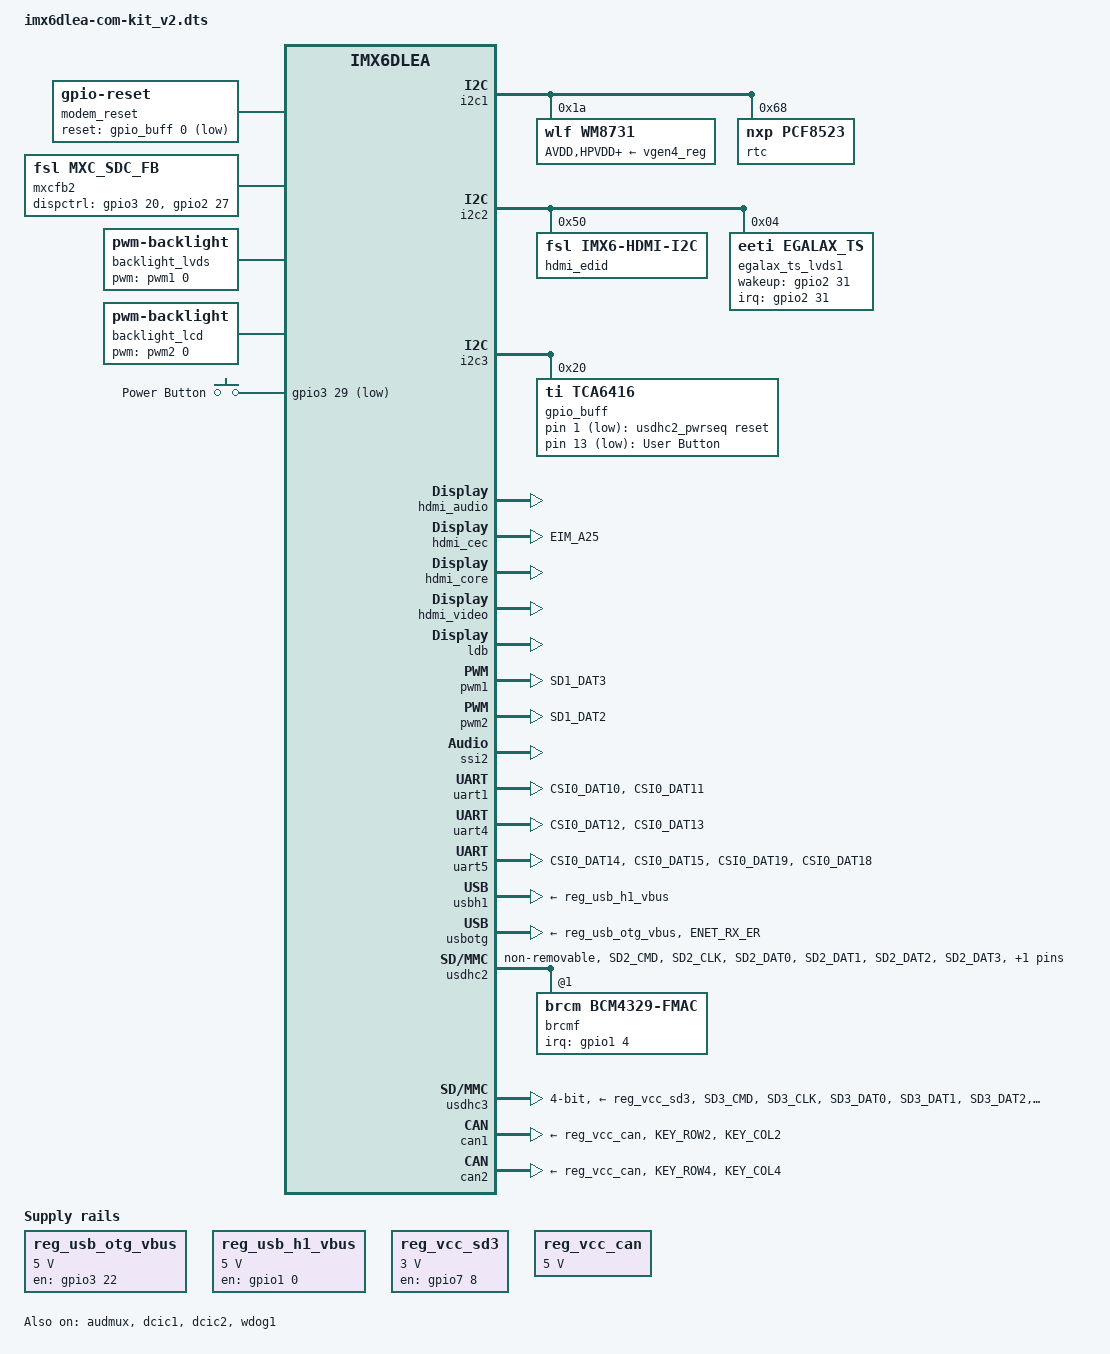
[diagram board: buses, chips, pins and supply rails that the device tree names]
/*
 * Copyright 2012 Freescale Semiconductor, Inc.
 * Copyright 2011 Linaro Ltd.
 *
 * The code contained herein is licensed under the GNU General Public
 * License. You may obtain a copy of the GNU General Public License
 * Version 2 or later at the following locations:
 *
 * http://www.opensource.org/licenses/gpl-license.html
 * http://www.gnu.org/copyleft/gpl.html
 */

/dts-v1/;

#include <dt-bindings/sound/fsl-imx-audmux.h> 
#include "imx6dlea-com.dtsi"


/ {
	aliases {
		mxcfb0 = &mxcfb1;
		mxcfb1 = &mxcfb2;
		mxcfb2 = &mxcfb3;
		mxcfb3 = &mxcfb4;

		/* Aliases to allow u-boot to modify the device tree */
		fb_hdmi = &mxcfb1;
		fb_rgb = &mxcfb3;
		fb_lvds0 = &mxcfb2;
		fb_lvds1 = &mxcfb4;
		t_rgb = &t_lcd;
		t_lvds0 = &t_lvds;
		t_lvds1 = &t_lvds2;
		bl_rgb = &backlight_lcd;
		bl_lvds = &backlight_lvds;
		rgb = &lcd;
		ldb = &ldb;
		ts_con_rgb = &i2c1;
		ts_con_lvds0 = &i2c1;
		ts_con_lvds1 = &i2c2;
	};

	modem_reset: modem-reset {		/* Murata -- BT_REG_ON */
		compatible = "gpio-reset";
		reset-gpios = <&gpio_buff 0 GPIO_ACTIVE_LOW>;
		reset-delay-us = <1000>;
		initially-in-reset;
		#reset-cells = <0>;
	};

	regulators {
		compatible = "simple-bus";
		#address-cells = <1>;
		#size-cells = <0>;

		reg_usb_otg_vbus: regulator@0 {
			compatible = "regulator-fixed";
			reg = <0>;
			regulator-name = "usb_otg_vbus";
			regulator-min-microvolt = <5000000>;
			regulator-max-microvolt = <5000000>;
			gpio = <&gpio3 22 GPIO_ACTIVE_HIGH>;
			enable-active-high;
		};

		reg_usb_h1_vbus: regulator@1 {
			compatible = "regulator-fixed";
			reg = <1>;
			pinctrl-names = "default";
			pinctrl-0 = <&pinctrl_usb_h1>;
			regulator-name = "usb_h1_vbus";
			regulator-min-microvolt = <5000000>;
			regulator-max-microvolt = <5000000>;
			gpio = <&gpio1 0 GPIO_ACTIVE_HIGH>;
			enable-active-high;
		};

		/* For uSD/MMC socket on EA COM Base Board */
		reg_vcc_sd3: regulator@2 {
			compatible = "regulator-fixed";
			reg = <2>;
			pinctrl-names = "default";
			pinctrl-0 = <&pinctrl_vcc_sd3>;
			regulator-name = "VCC_SD3";
			regulator-min-microvolt = <3000000>;
			regulator-max-microvolt = <3000000>;
			gpio = <&gpio7 8 GPIO_ACTIVE_LOW>;
			enable-active-high;
		};

		reg_vcc_can: regulator@4 {
			compatible = "regulator-fixed";
			reg = <4>;
			regulator-name = "VCC_CAN";
			regulator-min-microvolt = <5000000>;
			regulator-max-microvolt = <5000000>;
			regulator-always-on;
			/*regulator-boot-on;*/
		};

		usdhc2_pwrseq: usdhc2_pwrseq {			/* add construct for "fmac" to control WL_REG_ON signal */
			compatible = "mmc-pwrseq-simple";
			reset-gpios = <&gpio_buff 1 GPIO_ACTIVE_LOW>; /* WL REG ON */
			post-power-on-delay-ms = <120>;
			status = "okay";
		};
	};

	sound-wm8731 {
		compatible = "simple-audio-card";
		simple-audio-card,name = "wm8731-audio";
		simple-audio-card,format = "i2s";
		simple-audio-card,frame-master = <&cpudai>;
		simple-audio-card,bitclock-master = <&cpudai>;
		simple-audio-card,widgets =
			"Line", "Left Line Out Jack",
			"Line", "Right Line Out Jack";
		simple-audio-card,routing =
			"Left Line Out Jack", "LOUT",
			"Right Line Out Jack", "ROUT";

		cpudai: simple-audio-card,cpu {
			sound-dai = <&ssi2>;
		};

		simple-audio-card,codec {
			sound-dai = <&wm8731>;
			clocks = <&clks IMX6QDL_CLK_SSI2>;
		};
	};

	sound-hdmi {
		compatible = "fsl,imx6q-audio-hdmi",
			     "fsl,imx-audio-hdmi";
		model = "imx-audio-hdmi";
		hdmi-controller = <&hdmi_audio>;
	};

	mxcfb1: fb@0 {
		compatible = "fsl,mxc_sdc_fb";
		disp_dev = "hdmi";
		interface_pix_fmt = "RGB24";
		mode_str ="1920x1080M@60";
		default_bpp = <24>;
		int_clk = <0>;
		late_init = <0>;
		status = "disabled";
	};

	mxcfb2: fb@1 {
		compatible = "fsl,mxc_sdc_fb";
		disp_dev = "ldb";
		interface_pix_fmt = "RGB666";
		default_bpp = <16>;
		int_clk = <0>;
		late_init = <0>;
		dispctrl-gpios = <&gpio3 20 GPIO_ACTIVE_HIGH>, <&gpio2 27 GPIO_ACTIVE_HIGH>;
		status = "disabled";
	};

	mxcfb3: fb@2 {
		compatible = "fsl,mxc_sdc_fb";
		disp_dev = "lcd";
		interface_pix_fmt = "RGB24";
		mode_str ="eadisp_special";
		default_bpp = <32>;
		int_clk = <0>;
		late_init = <0>;
		dispctrl-gpios = <&gpio6 31 GPIO_ACTIVE_HIGH>, <&gpio5 0 GPIO_ACTIVE_HIGH>;
		status = "disabled";
	};

	mxcfb4: fb@3 {
		compatible = "fsl,mxc_sdc_fb";
		disp_dev = "ldb";
		interface_pix_fmt = "RGB666";
		default_bpp = <16>;
		int_clk = <0>;
		late_init = <0>;
		dispctrl-gpios = <&gpio6 31 GPIO_ACTIVE_HIGH>, <&gpio5 0 GPIO_ACTIVE_HIGH>;
		status = "disabled";
	};

	lcd: lcd@0 {
		compatible = "fsl,lcd";
		ipu_id = <0>;
		disp_id = <0>;
		default_ifmt = "RGB24";
		pinctrl-names = "default";
		pinctrl-0 = <&pinctrl_ipu1>;
		status = "okay";
	};

	/* Backlight for LVDS 0 and 1 */
	backlight_lvds: backlight1 {
		compatible = "pwm-backlight";
		pwms = <&pwm1 0 5000000>;
		brightness-levels = <0 4 8 16 32 64 128 255>;
		default-brightness-level = <7>;
		status = "okay";
	};

	/* Backlight for RGB */
	backlight_lcd: backlight2 {
		compatible = "pwm-backlight";
		pwms = <&pwm2 0 5000000>;
		brightness-levels = <0 4 8 16 32 64 128 255>;
		default-brightness-level = <7>;
		status = "okay";
	};

	v4l2_out {
		compatible = "fsl,mxc_v4l2_output";
		status = "okay";
	};

        gpio-keys {
                compatible = "gpio-keys";
                pinctrl-names = "default";
                pinctrl-0 = <&pinctrl_gpio_keys>;

                power {
                        label = "Power Button";
                        gpios = <&gpio3 29 GPIO_ACTIVE_LOW>;
                        gpio-key,wakeup;
                        linux,code = <KEY_POWER>;
                };
		user_btn {
			label = "User Button";
			gpios = <&gpio_buff 13 GPIO_ACTIVE_LOW>;
			linux,code = <103>; /* 103 = numpad 7 */
		};
        };
};

&audmux {
	pinctrl-names = "default";
	pinctrl-0 = <&pinctrl_audmux>;
	status = "okay";


        ssi2 {
                fsl,audmux-port = <1>;
                fsl,port-config = <
                        (IMX_AUDMUX_V2_PTCR_RCLKDIR |
                        IMX_AUDMUX_V2_PTCR_RCSEL(2 | 0x8) |
                        IMX_AUDMUX_V2_PTCR_TCLKDIR |
                        IMX_AUDMUX_V2_PTCR_TCSEL(2))
                        IMX_AUDMUX_V2_PDCR_RXDSEL(2)
                >;
        };

        audmux3 {
                fsl,audmux-port = <2>;
                fsl,port-config = <
                        (IMX_AUDMUX_V2_PTCR_TFSDIR |
                        IMX_AUDMUX_V2_PTCR_TFSEL(1) |
                        IMX_AUDMUX_V2_PTCR_RCLKDIR |
                        IMX_AUDMUX_V2_PTCR_RCSEL(1 | 0x8) |
                        IMX_AUDMUX_V2_PTCR_TCLKDIR |
                        IMX_AUDMUX_V2_PTCR_TCSEL(1))
                        IMX_AUDMUX_V2_PDCR_RXDSEL(1)
                >;
        };

};


&i2c1 {
	
	wm8731: wm8731@1a {
		#sound-dai-cells = <0>;
		compatible = "wlf,wm8731";
		reg = <0x1a>;
		clocks = <&clks IMX6QDL_CLK_CKO>;
		clock-names = "mclk"; 

		assigned-clocks = <&clks IMX6QDL_CLK_CKO>, <&clks IMX6QDL_CLK_CKO1_SEL>;
		assigned-clock-parents = <&clks IMX6QDL_CLK_CKO1>, <&clks IMX6QDL_CLK_PLL4_AUDIO_DIV>;

		AVDD-supply = <&vgen4_reg>;
		HPVDD-supply = <&vgen4_reg>;
		DCVDD-supply = <&vgen4_reg>;
		DBVDD-supply = <&vgen4_reg>;
	};

	/* AR1021 touch controller through RGB display interface connector on Carrier Board */
	ar1021_rgb@4d {
		compatible = "microchip,ar1021-i2c";
		reg = <0x4d>;
		pinctrl-names = "default";
		pinctrl-0 = <&pinctrl_rgb_connector>;
		interrupt-parent = <&gpio2>;
		interrupts = <18 IRQ_TYPE_EDGE_FALLING>;
		ar1021,swap_xy;
		ar1021,invert_x;
		#ar1021,invert_y;
		status = "disabled";
	};
	/* AR1021 touch controller through LVDS0 display interface connector on Carrier Board */
	ar1021_lvds0@4d {
		compatible = "microchip,ar1021-i2c";
		reg = <0x4d>;
		pinctrl-names = "default";
		pinctrl-0 = <&pinctrl_lvds0_connector>;
		interrupt-parent = <&gpio3>;
		interrupts = <13 IRQ_TYPE_EDGE_FALLING>;
		ar1021,swap_xy;
		ar1021,invert_x;
		#ar1021,invert_y;
		status = "disabled";
	};
	/* eGalax touch controller through RGB display interface connector on Carrier Board */
	egalax_ts_rgb@4 {
		compatible = "eeti,egalax_ts";
		reg = <0x4>;
		pinctrl-names = "default";
		pinctrl-0 = <&pinctrl_rgb_connector>;
		interrupt-parent = <&gpio2>;
		interrupts = <18 IRQ_TYPE_EDGE_FALLING>;
		wakeup-gpios = <&gpio2 18 GPIO_ACTIVE_HIGH>;
		status = "disabled";
	};
	/* eGalax touch controller through LVDS0 display interface connector on Carrier Board */
	egalax_ts_lvds0@4 {
		compatible = "eeti,egalax_ts";
		reg = <0x4>;
		pinctrl-names = "default";
		pinctrl-0 = <&pinctrl_lvds0_connector>;
		interrupt-parent = <&gpio3>;
		interrupts = <13 IRQ_TYPE_EDGE_FALLING>;
		wakeup-gpios = <&gpio3 13 GPIO_ACTIVE_HIGH>;
		status = "disabled";
	};

	/* FocalTech touch controller through RGB display interface connector on Carrier Board */
	edt-ft5x06_rgb@38 {
		compatible = "edt,edt-ft5x06";
		reg = <0x38>;
		pinctrl-names = "default";
		pinctrl-0 = <&pinctrl_rgb_connector>;
		interrupt-parent = <&gpio2>;
		interrupts = <18 IRQ_TYPE_EDGE_FALLING>;
		reset-gpios = <&gpio3 14 GPIO_ACTIVE_HIGH>;
		status = "disabled";
	};
	/* FocalTech touch controller through LVDS0 display interface connector on Carrier Board */
	edt-ft5x06_lvds0@38 {
		compatible = "edt,edt-ft5x06";
		reg = <0x38>;
		pinctrl-names = "default";
		pinctrl-0 = <&pinctrl_lvds0_connector>;
		interrupt-parent = <&gpio3>;
		interrupts = <13 IRQ_TYPE_EDGE_FALLING>;
		status = "disabled";
	};

	/* Ilitek touch controller through RGB display interface connector on Carrier Board */
	ilitek_aim_rgb@41 {
		compatible = "ilitek,ilitek_aim";
		reg = <0x41>;
		pinctrl-names = "default";
		pinctrl-0 = <&pinctrl_rgb_connector>;
		interrupt-parent = <&gpio2>;
		interrupts = <18 IRQ_TYPE_EDGE_FALLING>;
		reset-gpios = <&gpio3 14 GPIO_ACTIVE_HIGH>;
		status = "disabled";
	};
	/* Ilitek touch controller through LVDS0 display interface connector on Carrier Board */
	ilitek_aim_lvds0@41 {
		compatible = "ilitek,ilitek_aim";
		reg = <0x41>;
		pinctrl-names = "default";
		pinctrl-0 = <&pinctrl_lvds0_connector>;
		interrupt-parent = <&gpio3>;
		interrupts = <13 IRQ_TYPE_EDGE_FALLING>;
		status = "disabled";
	};

        /* Atmel MXT1664 touch controller through RGB display interface connector on Carrier Board */
        mxt1664_ts_rgb@4b {
                compatible = "atmel,mxt1664_ts";
                reg = <0x4b>;
                pinctrl-names = "default";
                pinctrl-0 = <&pinctrl_rgb_connector>;
                interrupt-parent = <&gpio2>;
                interrupts = <18 IRQ_TYPE_EDGE_FALLING>;
                status = "disabled";
        };
        /* Atmel MXT1664 touch controller through LVDS0 display interface connector on Carrier Board */
        mxt1664_ts_lvds0@4b {
                compatible = "atmel,mxt1664_ts";
                reg = <0x4b>;
                pinctrl-names = "default";
                pinctrl-0 = <&pinctrl_lvds0_connector>;
                interrupt-parent = <&gpio3>;
                interrupts = <13 IRQ_TYPE_EDGE_FALLING>;
                status = "disabled";
        };

	/* Sitronix touch controller through RGB display interface connector on Carrier Board */
	sitronix_rgb@55 {
		compatible = "sitronix,sitronix_i2c";
		reg = <0x55>;
		pinctrl-names = "default";
		pinctrl-0 = <&pinctrl_rgb_connector>;
		interrupt-parent = <&gpio2>;
		interrupts = <18 IRQ_TYPE_EDGE_FALLING>;
		reset-gpios = <&gpio3 14 GPIO_ACTIVE_HIGH>;
		status = "disabled";
	};
	/* Sitronix touch controller through LVDS0 display interface connector on Carrier Board */
	sitronix_lvds0@55 {
		compatible = "sitronix,sitronix_i2c";
		reg = <0x55>;
		pinctrl-names = "default";
		pinctrl-0 = <&pinctrl_lvds0_connector>;
		interrupt-parent = <&gpio3>;
		interrupts = <13 IRQ_TYPE_EDGE_FALLING>;
		status = "disabled";
	};
	rtc: pcf8523@68 {
		compatible = "nxp,pcf8523";
		reg = <0x68>;
	};
};

&i2c2 {
        /*
         * On COM Carrier board Rev E1 HDMI DDC I2C channel has moved to I2C-C
         * (which equals i2c2). On older revisions hdmi_edid should be under
         * the i2c3 node.
         */
	hdmi_edid: edid@50 {
		compatible = "fsl,imx6-hdmi-i2c";
		reg = <0x50>;
	};

	/* AR1021 touch controller through LVDS1 display interface connector on Carrier Board */
	ar1021_lvds1@4d {
		compatible = "microchip,ar1021-i2c";
		reg = <0x4d>;
		pinctrl-names = "default";
		pinctrl-0 = <&pinctrl_lvds1_connector>;
		interrupt-parent = <&gpio2>;
		interrupts = <31 IRQ_TYPE_EDGE_FALLING>;
		ar1021,swap_xy;
		ar1021,invert_x;
		#ar1021,invert_y;
		status = "disabled";
	};

	/* eGalax touch controller through LVDS1 display interface connector on Carrier Board */
	egalax_ts_lvds1@4 {
		compatible = "eeti,egalax_ts";
		reg = <0x4>;
		pinctrl-names = "default";
		pinctrl-0 = <&pinctrl_lvds1_connector>;
		interrupt-parent = <&gpio2>;
		interrupts = <31 IRQ_TYPE_EDGE_FALLING>;
		wakeup-gpios = <&gpio2 31 GPIO_ACTIVE_HIGH>;
		status = "okay";
	};

	/* FocalTech touch controller through LVDS1 display interface connector on Carrier Board */
	edt-ft5x06_lvds1@38 {
		compatible = "edt,edt-ft5x06";
		reg = <0x38>;
		pinctrl-names = "default";
		pinctrl-0 = <&pinctrl_lvds1_connector>;
		interrupt-parent = <&gpio2>;
		interrupts = <31 IRQ_TYPE_EDGE_FALLING>;
		status = "disabled";
	};

	/* Ilitek touch controller through LVDS1 display interface connector on Carrier Board */
	ilitek_aim_lvds1@41 {
		compatible = "ilitek,ilitek_aim";
		reg = <0x41>;
		pinctrl-names = "default";
		pinctrl-0 = <&pinctrl_lvds1_connector>;
		interrupt-parent = <&gpio2>;
		interrupts = <31 IRQ_TYPE_EDGE_FALLING>;
		status = "disabled";
	};

        /* Atmel MXT1664 touch controller through LVDS1 display interface connector on Carrier Board */
        mxt1664_ts_lvds1@4b {
                compatible = "atmel,mxt1664_ts";
                reg = <0x4b>;
                pinctrl-names = "default";
                pinctrl-0 = <&pinctrl_lvds1_connector>;
                interrupt-parent = <&gpio2>;
                interrupts = <31 IRQ_TYPE_EDGE_FALLING>;
                status = "disabled";
        };

	/* Sitronix touch controller through LVDS1 display interface connector on Carrier Board */
	sitronix_lvds1@55 {
		compatible = "sitronix,sitronix_i2c";
		reg = <0x55>;
		pinctrl-names = "default";
		pinctrl-0 = <&pinctrl_lvds1_connector>;
		interrupt-parent = <&gpio2>;
		interrupts = <31 IRQ_TYPE_EDGE_FALLING>;
		status = "disabled";
	};
};

&i2c3 {
        /*
         * On COM Carrier board Rev E1 HDMI DDC I2C channel has moved to I2C-C
         * (which equals i2c2). On older revisions hdmi_edid should be under
         * this node (i2c3).
         *
	hdmi_edid: edid@50 {
		compatible = "fsl,imx6-hdmi-i2c";
		reg = <0x50>;
	};*/

	gpio_buff: pca6416@20 {
		compatible = "ti,tca6416";
		reg = <0x20>;
		gpio-controller;
		#gpio-cells = <2>;
		gpio-line-names = "BT_REG_ON", "WL_REG_ON", "VBAT_VSEL",
			"BT_DEV_WAKE", "", "AUD_CODEC_MUX_CTRL1",
			"VDDIO_VSEL", "PCIE_PERST_L", "",
			"DIR_WL_DEV_WAKE", "PCIE_CLK_MUX_CTRL", "AUD_CODEC_MUX_CTRL2",
			"DIR_BT_AUD_WS_CLK", "USER_BTN", "USER_LED1", "USER_LED2";

		hog_VBAT_VSEL {
			gpio-hog;
			gpios = <2 0>;
			output-low; /* LOW = 3.3V, HIGH = 3.6V */
		};
		hog_AUD_CODEC_MUX_CTRL1 {
			gpio-hog;
			gpios = <5 0>;
			output-low;
		};
		hog_VDDIO_VSEL {
			gpio-hog;
			gpios = <6 0>;
			output-high; /* LOW = 1.8V, HIGH = 3.3V */
		};
		hog_DIR_WL_DEV_WAKE {
			gpio-hog;
			gpios = <9 0>;
			output-low;
		};
		hog_PCIE_CLK_MUX_CTRL {
			gpio-hog;
			gpios = <10 0>;
			output-high; /* LOW = External Reference Clock, HIGH = i.MX Generated Clock */
		};
		hog_AUD_CODEC_MUX_CTRL2 {
			gpio-hog;
			gpios = <11 0>;
			output-low;
		};
	};
};


&iomuxc {
	pinctrl-0 = <&pinctrl_hog>, <&pinctrl_lcd_gpios>, <&pinctrl_exp_conn>;

	imx6qea-com-kit {

		pinctrl_audmux: audmuxgrp {
			fsl,pins = <
				MX6QDL_PAD_CSI0_DAT7__AUD3_RXD		0x130b0
				MX6QDL_PAD_CSI0_DAT4__AUD3_TXC		0x130b0
				MX6QDL_PAD_CSI0_DAT5__AUD3_TXD		0x110b0
				MX6QDL_PAD_CSI0_DAT6__AUD3_TXFS		0x130b0
				MX6QDL_PAD_GPIO_19__CCM_CLKO1		0x130b0
			>;
		};
		
		pinctrl_rgb_connector: rgb_connector_grp {
			fsl,pins = <
				MX6QDL_PAD_EIM_A20__GPIO2_IO18          0x1f0b0
				MX6QDL_PAD_EIM_DA14__GPIO3_IO14		0x1f0b0
			>;
		};

		pinctrl_lvds0_connector: lvds0_connector_grp {
			fsl,pins = <
				MX6QDL_PAD_EIM_DA13__GPIO3_IO13		0x1f0b0
			>;
		};

		pinctrl_lvds1_connector: lvds1_connector_grp {
			fsl,pins = <
				MX6QDL_PAD_EIM_EB3__GPIO2_IO31		0x1f0b0
			>;
		};

		pinctrl_hdmi_cec: hdmicecgrp {
			fsl,pins = <
				MX6QDL_PAD_EIM_A25__HDMI_TX_CEC_LINE 0x1f8b0
			>;
		};

		pinctrl_hdmi_hdcp: hdmihdcpgrp {
			fsl,pins = <
				MX6QDL_PAD_KEY_COL3__HDMI_TX_DDC_SCL 0x4001b8b1
				MX6QDL_PAD_KEY_ROW3__HDMI_TX_DDC_SDA 0x4001b8b1
			>;
		};


		pinctrl_ipu1: ipu1grp {
			fsl,pins = <
				MX6QDL_PAD_DI0_DISP_CLK__IPU1_DI0_DISP_CLK 0x10
				MX6QDL_PAD_DI0_PIN15__IPU1_DI0_PIN15       0x10
				MX6QDL_PAD_DI0_PIN2__IPU1_DI0_PIN02        0x10
				MX6QDL_PAD_DI0_PIN3__IPU1_DI0_PIN03        0x10
				MX6QDL_PAD_DI0_PIN4__IPU1_DI0_PIN04        0x80000000
				MX6QDL_PAD_DISP0_DAT0__IPU1_DISP0_DATA00   0x10
				MX6QDL_PAD_DISP0_DAT1__IPU1_DISP0_DATA01   0x10
				MX6QDL_PAD_DISP0_DAT2__IPU1_DISP0_DATA02   0x10
				MX6QDL_PAD_DISP0_DAT3__IPU1_DISP0_DATA03   0x10
				MX6QDL_PAD_DISP0_DAT4__IPU1_DISP0_DATA04   0x10
				MX6QDL_PAD_DISP0_DAT5__IPU1_DISP0_DATA05   0x10
				MX6QDL_PAD_DISP0_DAT6__IPU1_DISP0_DATA06   0x10
				MX6QDL_PAD_DISP0_DAT7__IPU1_DISP0_DATA07   0x10
				MX6QDL_PAD_DISP0_DAT8__IPU1_DISP0_DATA08   0x10
				MX6QDL_PAD_DISP0_DAT9__IPU1_DISP0_DATA09   0x10
				MX6QDL_PAD_DISP0_DAT10__IPU1_DISP0_DATA10  0x10
				MX6QDL_PAD_DISP0_DAT11__IPU1_DISP0_DATA11  0x10
				MX6QDL_PAD_DISP0_DAT12__IPU1_DISP0_DATA12  0x10
				MX6QDL_PAD_DISP0_DAT13__IPU1_DISP0_DATA13  0x10
				MX6QDL_PAD_DISP0_DAT14__IPU1_DISP0_DATA14  0x10
				MX6QDL_PAD_DISP0_DAT15__IPU1_DISP0_DATA15  0x10
				MX6QDL_PAD_DISP0_DAT16__IPU1_DISP0_DATA16  0x10
				MX6QDL_PAD_DISP0_DAT17__IPU1_DISP0_DATA17  0x10
				MX6QDL_PAD_DISP0_DAT18__IPU1_DISP0_DATA18  0x10
				MX6QDL_PAD_DISP0_DAT19__IPU1_DISP0_DATA19  0x10
				MX6QDL_PAD_DISP0_DAT20__IPU1_DISP0_DATA20  0x10
				MX6QDL_PAD_DISP0_DAT21__IPU1_DISP0_DATA21  0x10
				MX6QDL_PAD_DISP0_DAT22__IPU1_DISP0_DATA22  0x10
				MX6QDL_PAD_DISP0_DAT23__IPU1_DISP0_DATA23  0x10
			>;
		};


		pinctrl_pwm1: pwm1grp {
			fsl,pins = <
				MX6QDL_PAD_SD1_DAT3__PWM1_OUT		0x1b0b1
			>;
		};

		pinctrl_pwm2: pwm2grp {
			fsl,pins = <
				MX6QDL_PAD_SD1_DAT2__PWM2_OUT		0x1b0b1
			>;
		};

		pinctrl_uart1: uart1grp {
			fsl,pins = <
				MX6QDL_PAD_CSI0_DAT10__UART1_TX_DATA	0x1b0b1
				MX6QDL_PAD_CSI0_DAT11__UART1_RX_DATA	0x1b0b1
			>;
		};

		pinctrl_uart4: uart4grp {
			fsl,pins = <
				MX6QDL_PAD_CSI0_DAT12__UART4_TX_DATA	0x1b0b1
				MX6QDL_PAD_CSI0_DAT13__UART4_RX_DATA	0x1b0b1
			>;
		};

		pinctrl_uart5: uart5grp {
			fsl,pins = <
				MX6QDL_PAD_CSI0_DAT14__UART5_TX_DATA	0x1b0b1
				MX6QDL_PAD_CSI0_DAT15__UART5_RX_DATA	0x1b0b1
				MX6QDL_PAD_CSI0_DAT19__UART5_CTS_B	0x1b0b1
				MX6QDL_PAD_CSI0_DAT18__UART5_RTS_B	0x1b0b1
			>;
		};

		pinctrl_usbotg: usbotggrp {
			fsl,pins = <
				MX6QDL_PAD_ENET_RX_ER__USB_OTG_ID	0x17059
			>;
		};

		pinctrl_usdhc2: usdhc2grp {
			fsl,pins = <
				MX6QDL_PAD_SD2_CMD__SD2_CMD		0x17059
				MX6QDL_PAD_SD2_CLK__SD2_CLK		0x10059
				MX6QDL_PAD_SD2_DAT0__SD2_DATA0		0x17059
				MX6QDL_PAD_SD2_DAT1__SD2_DATA1		0x17059
				MX6QDL_PAD_SD2_DAT2__SD2_DATA2		0x17059
				MX6QDL_PAD_SD2_DAT3__SD2_DATA3		0x17059
				MX6QDL_PAD_GPIO_4__GPIO1_IO04		0x13041 /* WL_HOST_WAKE */
			>;
		};

		pinctrl_usdhc2_100mhz: usdhc2grp_100mhz {
			fsl,pins = <
				MX6QDL_PAD_SD2_CMD__SD2_CMD		0x170b9
				MX6QDL_PAD_SD2_CLK__SD2_CLK		0x100b9
				MX6QDL_PAD_SD2_DAT0__SD2_DATA0		0x170b9
				MX6QDL_PAD_SD2_DAT1__SD2_DATA1		0x170b9
				MX6QDL_PAD_SD2_DAT2__SD2_DATA2		0x170b9
				MX6QDL_PAD_SD2_DAT3__SD2_DATA3		0x170b9
			>;
		};

		pinctrl_usdhc2_200mhz: usdhc2grp_200mhz {
			fsl,pins = <
				MX6QDL_PAD_SD2_CMD__SD2_CMD		0x170f9
				MX6QDL_PAD_SD2_CLK__SD2_CLK		0x100f9
				MX6QDL_PAD_SD2_DAT0__SD2_DATA0		0x170f9
				MX6QDL_PAD_SD2_DAT1__SD2_DATA1		0x170f9
				MX6QDL_PAD_SD2_DAT2__SD2_DATA2		0x170f9
				MX6QDL_PAD_SD2_DAT3__SD2_DATA3		0x170f9
			>;
		};

		pinctrl_usdhc3: usdhc3grp {
			fsl,pins = <
				MX6QDL_PAD_SD3_CMD__SD3_CMD		0x17069
				MX6QDL_PAD_SD3_CLK__SD3_CLK		0x10069
				MX6QDL_PAD_SD3_DAT0__SD3_DATA0		0x17069
				MX6QDL_PAD_SD3_DAT1__SD3_DATA1		0x17069
				MX6QDL_PAD_SD3_DAT2__SD3_DATA2		0x17069
				MX6QDL_PAD_SD3_DAT3__SD3_DATA3		0x17069
				MX6QDL_PAD_NANDF_WP_B__GPIO6_IO09	0x17069
			>;
		};

		pinctrl_usb_h1: usbh1grp {
			fsl,pins = <
				MX6QDL_PAD_GPIO_0__GPIO1_IO00	0x1b0b0
			>;
		};

		pinctrl_vcc_sd3: vccsd3grp {
			fsl,pins = <
				MX6QDL_PAD_SD3_RST__GPIO7_IO08			0x17059
			>;
		};

		pinctrl_flexcan1: flexcan1grp {
			fsl,pins = <
				MX6QDL_PAD_KEY_ROW2__FLEXCAN1_RX	0x1b020
				MX6QDL_PAD_KEY_COL2__FLEXCAN1_TX	0x1b020
			>;
		};

		pinctrl_flexcan2: flexcan2grp {
			fsl,pins = <
				MX6QDL_PAD_KEY_ROW4__FLEXCAN2_RX	0x1b020
				MX6QDL_PAD_KEY_COL4__FLEXCAN2_TX	0x1b020
			>;
		};

		pinctrl_lcd_gpios: lcd-gpios {
			fsl,pins = <
				MX6QDL_PAD_EIM_BCLK__GPIO6_IO31		0x17059
				MX6QDL_PAD_EIM_WAIT__GPIO5_IO00		0x17059
				MX6QDL_PAD_EIM_D20__GPIO3_IO20		0x17059
				MX6QDL_PAD_EIM_LBA__GPIO2_IO27		0x17059
			>;
		};

                pinctrl_gpio_keys: gpio_keysgrp {
                        fsl,pins = <
                                MX6QDL_PAD_EIM_D29__GPIO3_IO29 0x80000000
                        >;
                };

		pinctrl_pcie: pciegrp {
			fsl,pins = <
				MX6QDL_PAD_NANDF_RB0__GPIO6_IO10	0x17059
			>;
		};

		/* Expansion Board */
		pinctrl_exp_conn: expconngrp {
			fsl,pins = <
				/*MX6QDL_PAD_EIM_A25__GPIO5_IO02	0x130b1    GPIO_H shared with HDMI*/
				MX6QDL_PAD_NANDF_CLE__GPIO6_IO07	0x130b1 /* GPIO_J */
				/*MX6QDL_PAD_EIM_D19__GPIO3_IO19	0x130b1    GPIO_K shared with SD1_VSELECT */
				MX6QDL_PAD_EIM_D23__GPIO3_IO23		0x130b1 /* GPIO_P */
				MX6QDL_PAD_EIM_D24__GPIO3_IO24		0x130b1 /* GPIO_Q */
				MX6QDL_PAD_EIM_D25__GPIO3_IO25		0x130b1	/* GPIO_R */
				MX6QDL_PAD_EIM_D26__GPIO3_IO26		0x130b1	/* GPIO_S */
				MX6QDL_PAD_EIM_D27__GPIO3_IO27		0x130b1	/* GPIO_T */
				MX6QDL_PAD_EIM_D28__GPIO3_IO28		0x130b1 /* GPIO_U */
				/*MX6QDL_PAD_EIM_D29__GPIO3_IO29	0x130b1    GPIO_V shared with powerkey*/
				MX6QDL_PAD_EIM_D30__GPIO3_IO30		0x130b1 /* GPIO_W */
				MX6QDL_PAD_EIM_D31__GPIO3_IO31		0x130b1 /* GPIO_X */
				MX6QDL_PAD_NANDF_CS3__GPIO6_IO16	0x130b1 /* GPIO_Y */
				MX6QDL_PAD_NANDF_D0__GPIO2_IO00		0x130b1 /* GPIO_Z */
				MX6QDL_PAD_NANDF_D1__GPIO2_IO01		0x130b1 /* GPIO_AA */
				MX6QDL_PAD_NANDF_D2__GPIO2_IO02		0x130b1 /* GPIO_AB */
				MX6QDL_PAD_NANDF_D3__GPIO2_IO03		0x130b1 /* GPIO_AC */
				MX6QDL_PAD_NANDF_D4__GPIO2_IO04		0x130b1 /* GPIO_AD */
				MX6QDL_PAD_NANDF_D5__GPIO2_IO05		0x130b1 /* GPIO_AE */
				MX6QDL_PAD_NANDF_D6__GPIO2_IO06		0x130b1 /* GPIO_AF */
				MX6QDL_PAD_NANDF_D7__GPIO2_IO07		0x130b1 /* GPIO_AG */
				MX6QDL_PAD_KEY_COL0__GPIO4_IO06		0x130b1 /* GPIO_AH */
				MX6QDL_PAD_KEY_COL1__GPIO4_IO08		0x130b1	/* GPIO_AJ */
				MX6QDL_PAD_KEY_ROW0__GPIO4_IO07		0x130b1	/* GPIO_AK */
				MX6QDL_PAD_KEY_ROW1__GPIO4_IO09		0x130b1	/* GPIO_AL */
				MX6QDL_PAD_EIM_DA0__GPIO3_IO00		0x130b1 /* GPIO_AP */
				MX6QDL_PAD_EIM_DA1__GPIO3_IO01		0x130b1	/* GPIO_AQ */
				MX6QDL_PAD_EIM_DA2__GPIO3_IO02		0x130b1	/* GPIO_AR */
				MX6QDL_PAD_EIM_DA3__GPIO3_IO03		0x130b1	/* GPIO_AS */
				MX6QDL_PAD_EIM_DA4__GPIO3_IO04		0x130b1	/* GPIO_AT */
				MX6QDL_PAD_EIM_DA5__GPIO3_IO05		0x130b1	/* GPIO_AU */
				MX6QDL_PAD_EIM_DA10__GPIO3_IO10		0x130b1 /* GPIO_AV */
			>;
		};
 	};
};

&dcic1 {
	dcic_id = <0>;
	dcic_mux = "dcic-hdmi";
	status = "okay";
};

&dcic2 {
	dcic_id = <1>;
	dcic_mux = "dcic-lvds1";
	status = "okay";
};


&hdmi_audio {
	status = "okay";
};

&hdmi_cec {
	pinctrl-names = "default";
	pinctrl-0 = <&pinctrl_hdmi_cec>;
	status = "okay";
};

&hdmi_core {
	ipu_id = <0>;
	disp_id = <1>;
	status = "okay";
};

&hdmi_video {
	fsl,phy_reg_vlev = <0x0294>;
	fsl,phy_reg_cksymtx = <0x800d>;
	status = "okay";
};

&lcd {
	status = "okay";
	display = <&display0>;

	display0: display {
		bits-per-pixel = <32>;
		bus-width = <24>;

		display-timings {
			native-mode = <&t_lcd>;
			t_lcd: t_lcd_default {
				/* values may be changed in bootscript, default is for EA 7" display */
				clock-frequency = <33500000>;
				hactive = <800>;
				vactive = <480>;
				hback-porch = <89>;
				hfront-porch = <164>;
				vback-porch = <75>;/*<23>;*/
				vfront-porch = <75>;/*<10>;*/
				hsync-len = <10>;
				vsync-len = <10>;
				hsync-active = <0>;
				vsync-active = <0>;
				de-active = <1>;
				pixelclk-active = <1>;
			};
		};
	};
};

&ldb {
	status = "okay";

	lvds-channel@0 {
		fsl,data-mapping = "spwg";
		fsl,data-width = <18>;
		status = "okay";

		display-timings {
			native-mode = <&t_lvds>;
			t_lvds: t_lvds_default {
				/* values may be changed in bootscript */
				clock-frequency = <65000000>;
				hactive = <1024>;
				vactive = <768>;
				hback-porch = <220>;
				hfront-porch = <40>;
				vback-porch = <21>;
				vfront-porch = <7>;
				hsync-len = <60>;
				vsync-len = <10>;
			};
		};
	};

	lvds-channel@1 {
		fsl,data-mapping = "spwg";
		fsl,data-width = <18>;
		primary;
		status = "okay";

		display-timings {
			native-mode = <&t_lvds2>;
			t_lvds2: t_lvds2_default {
				/* values may be changed in bootscript */
				clock-frequency = <65000000>;
				hactive = <1024>;
				vactive = <768>;
				hback-porch = <220>;
				hfront-porch = <40>;
				vback-porch = <21>;
				vfront-porch = <7>;
				hsync-len = <60>;
				vsync-len = <10>;
			};
		};
	};
};

/* mipi_dsi has the same ip_id/disp_id as the hdmi_core so only enble one of the */
&mipi_dsi {
	dev_id = <0>;
	disp_id = <1>;
	lcd_panel = "TRULY-WVGA";
	status = "disabled";
};

&pcie {
	pinctrl-names = "default";
	pinctrl-0 = <&pinctrl_pcie>;
	reset-gpio = <&gpio_buff 7 GPIO_ACTIVE_LOW>; /* PCIE_PERST_L */
	disable-gpio = <&gpio_buff 1 GPIO_ACTIVE_LOW>; /* WL REG ON */
	clkreq-gpio = <&gpio6 10 GPIO_ACTIVE_LOW>; /* PCIe_CLKREQ */
	status = "disabled";
};

&pwm1 {
	#pwm-cells = <2>;
	pinctrl-names = "default";
	pinctrl-0 = <&pinctrl_pwm1>;
	status = "okay";
};

&pwm2 {
	#pwm-cells = <2>;
	pinctrl-names = "default";
	pinctrl-0 = <&pinctrl_pwm2>;
	status = "okay";
};

&clks {
	assigned-clocks = <&clks IMX6QDL_CLK_PLL4_AUDIO_DIV>, <&clks IMX6QDL_CLK_CKO1>;
	assigned-clock-rates = <90316800>, <11289600>;
};


&ssi2 {
	#sound-dai-cells = <0>;
	fsl,mode = "i2s-master";
	status = "okay";

	assigned-clocks = <&clks IMX6QDL_CLK_SSI2_SEL>,
			<&clks IMX6QDL_CLK_SSI2>;
	assigned-clock-parents = <&clks IMX6QDL_CLK_PLL4_AUDIO_DIV>;
	assigned-clock-rates = <0>, <11289600>;
};

&uart1 {
	pinctrl-names = "default";
	pinctrl-0 = <&pinctrl_uart1>;
	status = "okay";
};

&uart4 {
	pinctrl-names = "default";
	pinctrl-0 = <&pinctrl_uart4>;
	status = "okay";
};

/* Bluetooth UART */
&uart5 {
	pinctrl-names = "default";
	pinctrl-0 = <&pinctrl_uart5>;
	status = "okay";

	fsl,uart-has-rtscts;
	#fsl,dte-mode;
	resets = <&modem_reset>;
};

&usbh1 {
	vbus-supply = <&reg_usb_h1_vbus>;
	status = "okay";
};

&usbotg {
	vbus-supply = <&reg_usb_otg_vbus>;
	pinctrl-names = "default";
	pinctrl-0 = <&pinctrl_usbotg>;
	disable-over-current;
	status = "okay";
};

&usdhc2 {
	#address-cells = <1>;
	#size-cells = <0>;
	pinctrl-names = "default", "state_100mhz", "state_200mhz";
	pinctrl-0 = <&pinctrl_usdhc2>;
	pinctrl-1 = <&pinctrl_usdhc2_100mhz>;
	pinctrl-2 = <&pinctrl_usdhc2_200mhz>;
	keep-power-in-suspend;
	non-removable;
	pm-ignore-notify;
	cap-power-off; 
	mmc-pwrseq = <&usdhc2_pwrseq>;
	status = "okay";
	brcmf: bcrmf@1 {
		reg = <1>;
		compatible = "brcm,bcm4329-fmac";
		interrupt-parent = <&gpio1>;
		interrupts = <4 IRQ_TYPE_LEVEL_LOW>;  /* WL_HOST_WAKE */
		interrupt-names = "host-wake";
	};
};

/* For uSD socket on COM Carrier Board */
&usdhc3 {
	pinctrl-names = "default";
	pinctrl-0 = <&pinctrl_usdhc3>;
	bus-width = <4>;
	vmmc-supply = <&reg_vcc_sd3>;
	cd-gpios = <&gpio6 9 GPIO_ACTIVE_LOW>;
	no-1-8-v;
	keep-power-in-suspend;
	enable-sdio-wakeup;
	status = "okay";
};


&wdog1 {
	status = "okay";
};

&wdog2 {
	status = "disabled";
};


&ldb {
	lvds-channel@0 {
		crtc = "ipu1-di0";
	};

	lvds-channel@1 {
		crtc = "ipu1-di1";
	};
};



&mxcfb1 {
	status = "okay";
};


&mxcfb2 {
	status = "okay";
};


&can1 {
	pinctrl-names = "default";
	pinctrl-0 = <&pinctrl_flexcan1>;
	xceiver-supply = <&reg_vcc_can>; 
	status = "okay";
};

&can2 {
	pinctrl-names = "default";
	pinctrl-0 = <&pinctrl_flexcan2>;
	xceiver-supply = <&reg_vcc_can>; 
	status = "okay";
};


